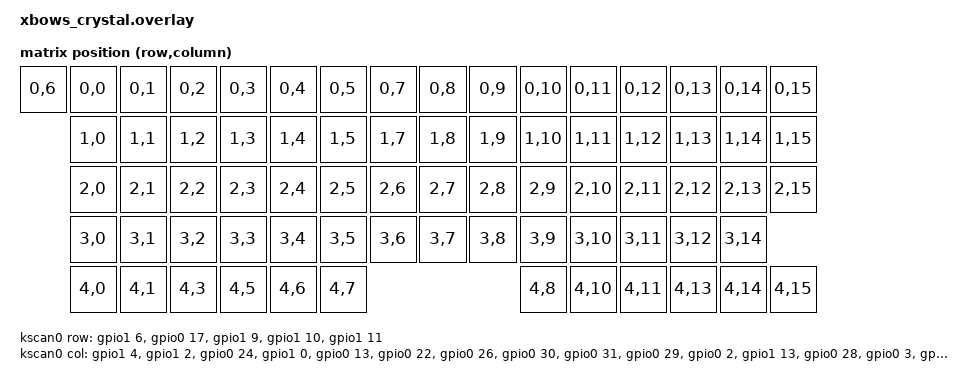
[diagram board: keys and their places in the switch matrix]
/*
 * Copyright (c) 2023 The ZMK Contributors
 *
 * SPDX-License-Identifier: MIT
 */

#include <dt-bindings/zmk/matrix_transform.h>

/ {
    chosen {
        zmk,kscan = &kscan0;
        zmk,matrix-transform = &default_transform;
    };

    default_transform: keymap_transform_0 {
        compatible = "zmk,matrix-transform";
        columns = <16>;
        rows = <5>;

        map = <
RC(0,6) RC(0,0) RC(0,1) RC(0,2) RC(0,3) RC(0,4) RC(0,5)         RC(0,7) RC(0,8) RC(0,9) RC(0,10) RC(0,11) RC(0,12) RC(0,13) RC(0,14) RC(0,15)
        RC(1,0) RC(1,1) RC(1,2) RC(1,3) RC(1,4) RC(1,5)         RC(1,7) RC(1,8) RC(1,9) RC(1,10) RC(1,11) RC(1,12) RC(1,13) RC(1,14) RC(1,15)
        RC(2,0) RC(2,1) RC(2,2) RC(2,3) RC(2,4) RC(2,5) RC(2,6) RC(2,7) RC(2,8) RC(2,9) RC(2,10) RC(2,11) RC(2,12) RC(2,13)          RC(2,15)
        RC(3,0) RC(3,1) RC(3,2) RC(3,3) RC(3,4) RC(3,5) RC(3,6) RC(3,7) RC(3,8) RC(3,9) RC(3,10) RC(3,11) RC(3,12)          RC(3,14)
        RC(4,0) RC(4,1)         RC(4,3)         RC(4,5) RC(4,6) RC(4,7) RC(4,8)         RC(4,10) RC(4,11)          RC(4,13) RC(4,14) RC(4,15)
        >;
    };

    kscan0: kscan_0 {
        compatible = "zmk,kscan-gpio-matrix";
        wakeup-source;

        diode-direction = "col2row";

        col-gpios
            = <&gpio1  4 GPIO_ACTIVE_HIGH> // C00
            , <&gpio1  2 GPIO_ACTIVE_HIGH> // C01
            , <&gpio0 24 GPIO_ACTIVE_HIGH> // C02
            , <&gpio1  0 GPIO_ACTIVE_HIGH> // C03
            , <&gpio0 13 GPIO_ACTIVE_HIGH> // C04
            , <&gpio0 22 GPIO_ACTIVE_HIGH> // C05
            , <&gpio0 26 GPIO_ACTIVE_HIGH> // C06
            , <&gpio0 30 GPIO_ACTIVE_HIGH> // C07
            , <&gpio0 31 GPIO_ACTIVE_HIGH> // C08
            , <&gpio0 29 GPIO_ACTIVE_HIGH> // C09
            , <&gpio0  2 GPIO_ACTIVE_HIGH> // C10
            , <&gpio1 13 GPIO_ACTIVE_HIGH> // C11
            , <&gpio0 28 GPIO_ACTIVE_HIGH> // C12
            , <&gpio0  3 GPIO_ACTIVE_HIGH> // C13
            , <&gpio0 20 GPIO_ACTIVE_HIGH> // C14
            , <&gpio0 10 GPIO_ACTIVE_HIGH> // C15
            ;

        row-gpios
            = <&gpio1  6 (GPIO_ACTIVE_HIGH | GPIO_PULL_DOWN)> // R0
            , <&gpio0 17 (GPIO_ACTIVE_HIGH | GPIO_PULL_DOWN)> // R1
            , <&gpio1  9 (GPIO_ACTIVE_HIGH | GPIO_PULL_DOWN)> // R2
            , <&gpio1 10 (GPIO_ACTIVE_HIGH | GPIO_PULL_DOWN)> // R3
            , <&gpio1 11 (GPIO_ACTIVE_HIGH | GPIO_PULL_DOWN)> // R4
            ;

    };
};
